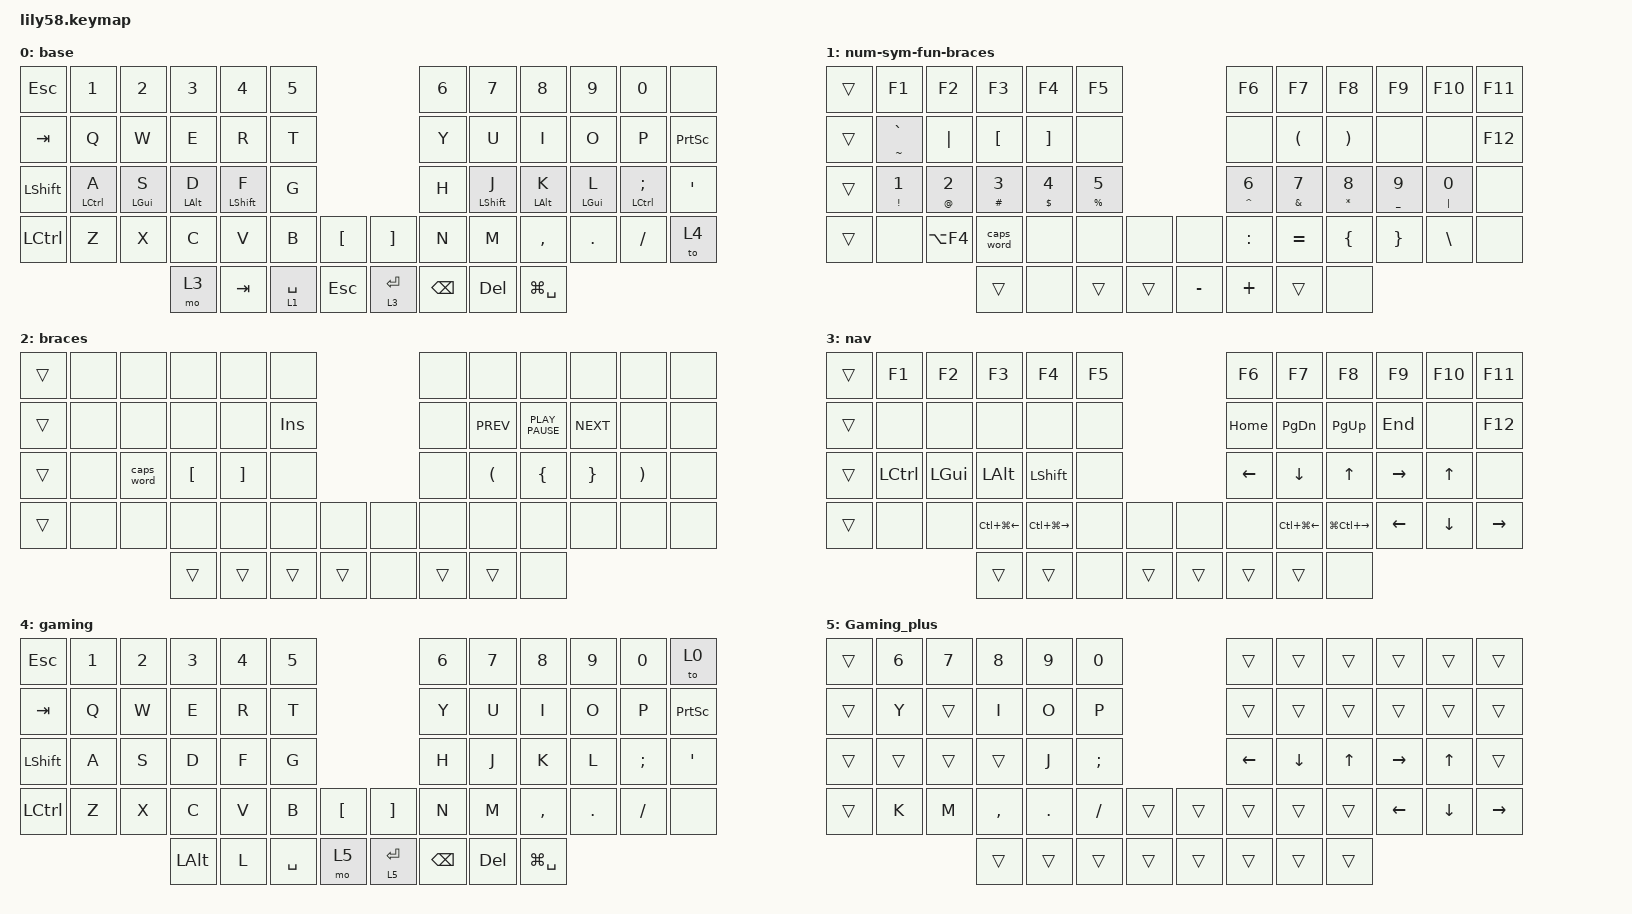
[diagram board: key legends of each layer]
/*
 * Copyright (c) 2020 The ZMK Contributors
 *
 * SPDX-License-Identifier: MIT
 */

#include <behaviors.dtsi>
#include <dt-bindings/zmk/keys.h>

/ {
    macros {
        vscodeFindFile: vscodeFindFile {
            compatible = "zmk,behavior-macro";
            #binding-cells = <0>;
            bindings = <&kp F1 &kp BACKSPACE &tog 0>;
            label = "VSCODEFINDFILE";
        };
    };

    behaviors {
        holdLayer: holdLayer {
            compatible = "zmk,behavior-hold-tap";
            label = "HOLDLAYER";
            bindings = <&mo>, <&kp>;

            #binding-cells = <2>;
            tapping-term-ms = <200>;
            flavor = "balanced";
        };

        tap_hold: tap_hold {
            compatible = "zmk,behavior-hold-tap";
            label = "TAP_HOLD";
            bindings = <&kp>, <&kp>;

            #binding-cells = <2>;
            tapping-term-ms = <200>;
            flavor = "tap-preferred";
        };
    };

    keymap {
        compatible = "zmk,keymap";

        base {
            bindings = <
&kp ESCAPE  &kp N1                    &kp N2                &kp N3                &kp N4                  &kp N5                                                      &kp N6         &kp N7                  &kp N8                &kp N9                &kp N0                            &none
&kp TAB     &kp Q                     &kp W                 &kp E                 &kp R                   &kp T                                                       &kp Y          &kp U                   &kp I                 &kp O                 &kp P                             &kp PRINTSCREEN
&kp LSHFT   &tap_hold LEFT_CONTROL A  &tap_hold LEFT_GUI S  &tap_hold LEFT_ALT D  &tap_hold LEFT_SHIFT F  &kp G                                                       &kp H          &tap_hold LEFT_SHIFT J  &tap_hold LEFT_ALT K  &tap_hold LEFT_GUI L  &tap_hold LEFT_CONTROL SEMICOLON  &kp APOS
&kp LCTRL   &kp Z                     &kp X                 &kp C                 &kp V                   &kp B               &kp LEFT_BRACKET    &kp RBKT            &kp N          &kp M                   &kp COMMA             &kp DOT               &kp FSLH                          &to 4
                                                            &mo 3                 &kp TAB                 &holdLayer 1 SPACE  &kp ESCAPE          &holdLayer 3 ENTER  &kp BACKSPACE  &kp DELETE              &kp LG(SPACE)
            >;
        };

        num-sym-fun-braces {
            bindings = <
&trans  &kp F1                          &kp F2                      &kp F3                   &kp F4                     &kp F5                                           &kp F6                    &kp F7                        &kp F8                       &kp F9              &kp F10            &kp F11
&trans  &tap_hold TILDE GRAVE           &kp PIPE                    &kp LBKT                 &kp RBKT                   &none                                            &none                     &kp LEFT_PARENTHESIS          &kp RIGHT_PARENTHESIS        &none               &none              &kp F12
&trans  &tap_hold EXCLAMATION NUMBER_1  &tap_hold AT_SIGN NUMBER_2  &tap_hold HASH NUMBER_3  &tap_hold DOLLAR NUMBER_4  &tap_hold PERCENT NUMBER_5                       &tap_hold CARET NUMBER_6  &tap_hold AMPERSAND NUMBER_7  &tap_hold ASTERISK NUMBER_8  &tap_hold UNDER N9  &tap_hold PIPE N0  &none
&trans  &none                           &kp LA(F4)                  &caps_word               &none                      &none                       &none     &none      &kp COLON                 &kp EQUAL                     &kp LEFT_BRACE               &kp RIGHT_BRACE     &kp BACKSLASH      &none
                                                                    &trans                   &none                      &trans                      &trans    &kp MINUS  &kp PLUS                  &trans                        &none
            >;
        };

        braces {
            bindings = <
&trans  &none  &none       &none     &none     &none                        &none   &none                 &none             &none            &none                  &none
&trans  &none  &none       &none     &none     &kp INSERT                   &none   &kp K_PREV            &kp K_PLAY_PAUSE  &kp K_NEXT       &none                  &none
&trans  &none  &caps_word  &kp LBKT  &kp RBKT  &none                        &none   &kp LEFT_PARENTHESIS  &kp LEFT_BRACE    &kp RIGHT_BRACE  &kp RIGHT_PARENTHESIS  &none
&trans  &none  &none       &none     &none     &none       &none     &none  &none   &none                 &none             &none            &none                  &none
                           &trans    &trans    &trans      &trans    &none  &trans  &trans                &none
            >;
        };

        nav {
            bindings = <
&trans  &kp F1     &kp F2    &kp F3            &kp F4             &kp F5                    &kp F6    &kp F7            &kp F8             &kp F9     &kp F10   &kp F11
&trans  &none      &none     &none             &none              &none                     &kp HOME  &kp PG_DN         &kp PG_UP          &kp END    &none     &kp F12
&trans  &kp LCTRL  &kp LGUI  &kp LALT          &kp LSHFT          &none                     &kp LEFT  &kp DOWN          &kp UP             &kp RIGHT  &kp UP    &none
&trans  &none      &none     &kp LC(LG(LEFT))  &kp LC(LG(RIGHT))  &none   &none     &none   &none     &kp LC(LG(LEFT))  &kp LG(LC(RIGHT))  &kp LEFT   &kp DOWN  &kp RIGHT
                             &trans            &trans             &none   &trans    &trans  &trans    &trans            &none
            >;
        };

        gaming {
            bindings = <
&kp ESC    &kp N1  &kp N2  &kp N3        &kp N4  &kp N5                                              &kp N6         &kp N7      &kp N8         &kp N9   &kp N0    &to 0
&kp TAB    &kp Q   &kp W   &kp E         &kp R   &kp T                                               &kp Y          &kp U       &kp I          &kp O    &kp P     &kp PRINTSCREEN
&kp LSHFT  &kp A   &kp S   &kp D         &kp F   &kp G                                               &kp H          &kp J       &kp K          &kp L    &kp SEMI  &kp APOS
&kp LCTRL  &kp Z   &kp X   &kp C         &kp V   &kp B      &kp LEFT_BRACKET    &kp RBKT             &kp N          &kp M       &kp COMMA      &kp DOT  &kp FSLH  &none
                           &kp LEFT_ALT  &kp L   &kp SPACE  &mo 5               &holdLayer 5 RETURN  &kp BACKSPACE  &kp DELETE  &kp LG(SPACE)
            >;
        };

        Gaming_plus {
            bindings = <
&trans  &kp N6  &kp N7  &kp N8     &kp N9   &kp N0                      &trans    &trans    &trans  &trans     &trans    &trans
&trans  &kp Y   &trans  &kp I      &kp O    &kp P                       &trans    &trans    &trans  &trans     &trans    &trans
&trans  &trans  &trans  &trans     &kp J    &kp SEMI                    &kp LEFT  &kp DOWN  &kp UP  &kp RIGHT  &kp UP    &trans
&trans  &kp K   &kp M   &kp COMMA  &kp DOT  &kp FSLH  &trans    &trans  &trans    &trans    &trans  &kp LEFT   &kp DOWN  &kp RIGHT
                        &trans     &trans   &trans    &trans    &trans  &trans    &trans    &trans
            >;
        };
    };
};
